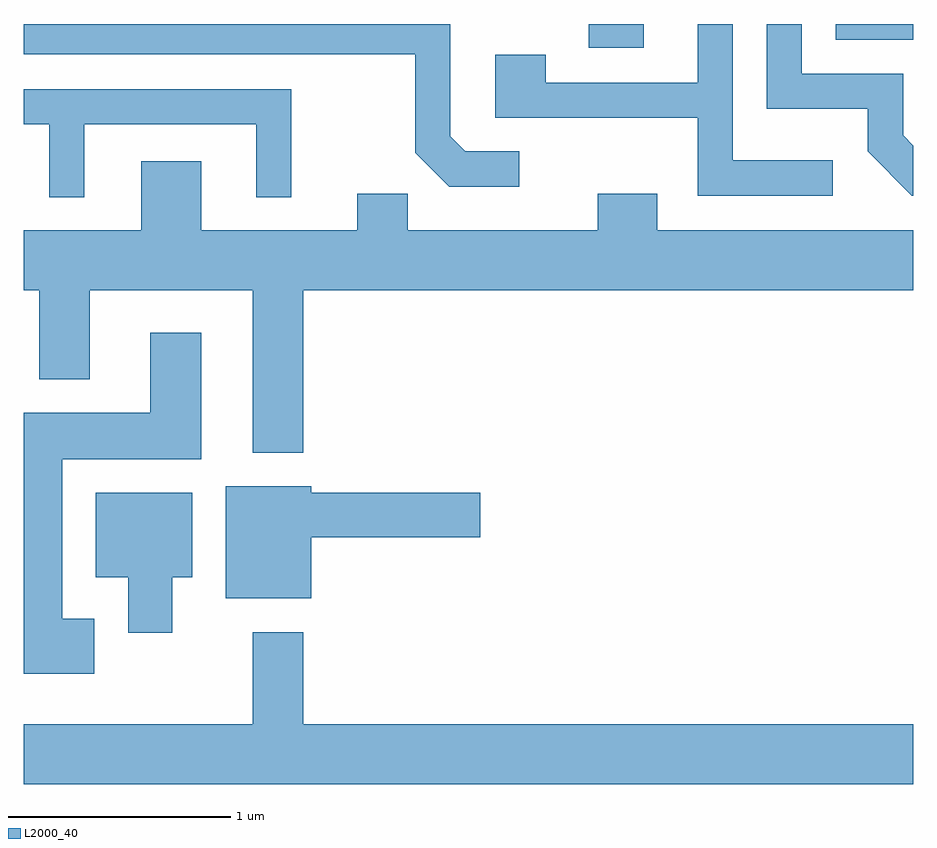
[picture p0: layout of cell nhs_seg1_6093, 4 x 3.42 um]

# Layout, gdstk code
import gdstk
lib = gdstk.Library(unit=1e-6, precision=1e-09)
def R(c, l, rs):  # rectangles x0, y0, x1, y1
    for r in rs: c.add(gdstk.rectangle(r[:2], r[2:], *l))
def P(c, l, *ps):  # polygons
    for p in ps: c.add(gdstk.Polygon(p, *l))
L2000_40 = (2000, 40)

nhs_seg1_6093 = lib.new_cell('nhs_seg1_6093')
R(nhs_seg1_6093, L2000_40, [(372.151,849.606,372.399,849.712), (373.261,849.641,373.611,849.712)])
P(nhs_seg1_6093, L2000_40, [(373.611,849.165),(373.564,849.212),(373.564,849.489),(373.109,849.489),(373.109,849.712),(372.951,849.712),(372.951,849.331),(373.406,849.331),(373.406,849.139),(373.604,848.941),(373.611,848.941)],
  [(371.838,849.139),(371.597,849.139),(371.529,849.207),(371.529,849.712),(369.611,849.712),(369.611,849.576),(371.371,849.576),(371.371,849.134),(371.524,848.981),(371.838,848.981)],
  [(373.248,849.099),(372.799,849.099),(372.799,849.712),(372.641,849.712),(372.641,849.449),(371.959,849.449),(371.959,849.574),(371.731,849.574),(371.731,849.291),(372.641,849.291),(372.641,848.941),(373.248,848.941)],
  [(369.884,849.261),(370.656,849.261),(370.656,848.933),(370.814,848.933),(370.814,849.419),(369.611,849.419),(369.611,849.261),(369.726,849.261),(369.726,848.933),(369.884,848.933)],
  [(370.869,848.516),(373.611,848.516),(373.611,848.784),(372.459,848.784),(372.459,848.949),(372.191,848.949),(372.191,848.784),(371.339,848.784),(371.339,848.949),(371.111,848.949),(371.111,848.784),(370.409,848.784),(370.409,849.094),(370.141,849.094),(370.141,848.784),(369.611,848.784),(369.611,848.516),(369.681,848.516),(369.681,848.116),(369.909,848.116),(369.909,848.516),(370.641,848.516),(370.641,847.786),(370.869,847.786)],
  [(369.929,847.039),(369.784,847.039),(369.784,847.756),(370.409,847.756),(370.409,848.324),(370.181,848.324),(370.181,847.964),(369.611,847.964),(369.611,846.791),(369.929,846.791)],
  [(370.904,847.406),(371.664,847.406),(371.664,847.604),(370.904,847.604),(370.904,847.634),(370.521,847.634),(370.521,847.131),(370.904,847.131)],
  [(370.279,847.226),(370.369,847.226),(370.369,847.604),(369.936,847.604),(369.936,847.226),(370.081,847.226),(370.081,846.976),(370.279,846.976)],
  [(373.611,846.564),(370.869,846.564),(370.869,846.979),(370.641,846.979),(370.641,846.564),(369.611,846.564),(369.611,846.296),(373.611,846.296)])

lib.write_gds('nhs_seg1_6093.gds')
